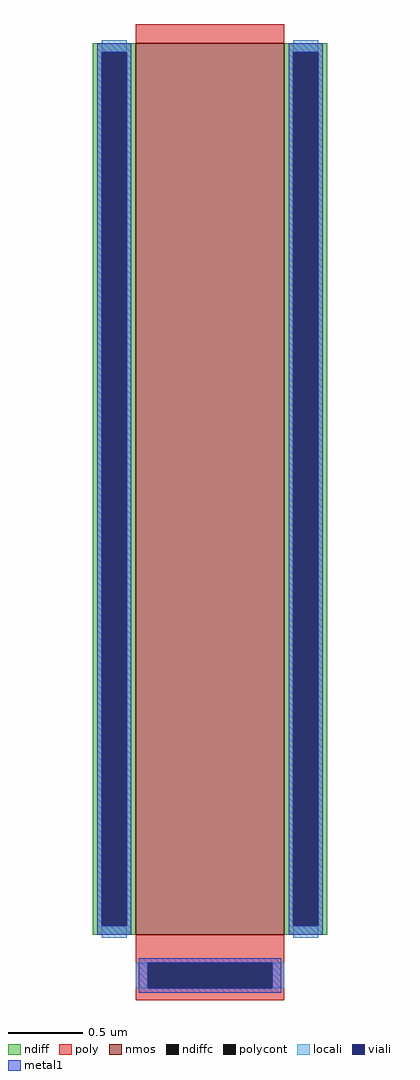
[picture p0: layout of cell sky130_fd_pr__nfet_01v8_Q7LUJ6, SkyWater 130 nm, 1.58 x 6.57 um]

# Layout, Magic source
magic
tech sky130B
magscale 1 2
<< nmos >>
rect -100 -569 100 631
<< ndiff >>
rect -158 619 -100 631
rect -158 -557 -146 619
rect -112 -557 -100 619
rect -158 -569 -100 -557
rect 100 619 158 631
rect 100 -557 112 619
rect 146 -557 158 619
rect 100 -569 158 -557
<< ndiffc >>
rect -146 -557 -112 619
rect 112 -557 146 619
<< poly >>
rect -100 631 100 657
rect -100 -607 100 -569
rect -100 -641 -84 -607
rect 84 -641 100 -607
rect -100 -657 100 -641
<< polycont >>
rect -84 -641 84 -607
<< locali >>
rect -146 619 -112 635
rect -146 -573 -112 -557
rect 112 619 146 635
rect 112 -573 146 -557
rect -100 -641 -84 -607
rect 84 -641 100 -607
<< viali >>
rect -146 -557 -112 619
rect 112 -557 146 619
rect -84 -641 84 -607
<< metal1 >>
rect -152 619 -106 631
rect -152 -557 -146 619
rect -112 -557 -106 619
rect -152 -569 -106 -557
rect 106 619 152 631
rect 106 -557 112 619
rect 146 -557 152 619
rect 106 -569 152 -557
rect -96 -607 96 -601
rect -96 -641 -84 -607
rect 84 -641 96 -607
rect -96 -647 96 -641
<< properties >>
string gencell sky130_fd_pr__nfet_01v8
string library sky130
string parameters w 6 l 1 m 1 nf 1 diffcov 100 polycov 100 guard 0 glc 0 grc 0 gtc 0 gbc 0 tbcov 100 rlcov 100 topc 0 botc 1 poverlap 0 doverlap 0 lmin 0.15 wmin 0.42 compatible {sky130_fd_pr__nfet_01v8 sky130_fd_pr__nfet_01v8_lvt  sky130_fd_bs_flash__special_sonosfet_star  sky130_fd_pr__nfet_g5v0d10v5 sky130_fd_pr__nfet_05v0_nvt  sky130_fd_pr__nfet_03v3_nvt} full_metal 0 viasrc 100 viadrn 100 viagate 100 viagb 0 viagr 0 viagl 0 viagt 0
<< end >>
